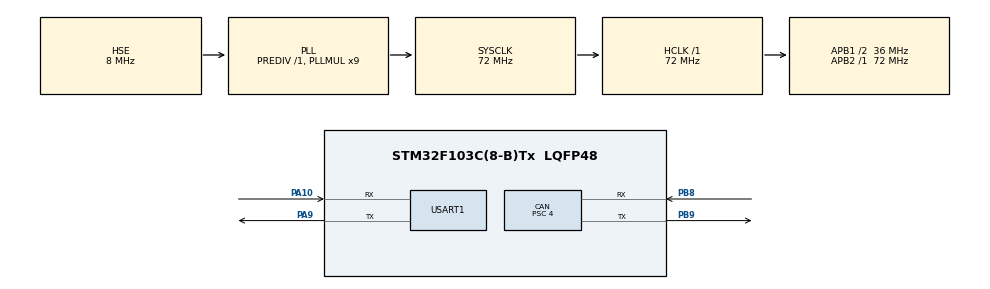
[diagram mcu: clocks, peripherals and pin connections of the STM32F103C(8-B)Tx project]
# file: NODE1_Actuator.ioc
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CAN.BS1=CAN_BS1_13TQ
CAN.BS2=CAN_BS2_4TQ
CAN.CalculateBaudRate=500000
CAN.CalculateTimeBit=2000
CAN.CalculateTimeQuantum=111.11111111111111
CAN.Prescaler=4
Mcu.Family=STM32F1
Mcu.Name=STM32F103C(8-B)Tx
Mcu.Package=LQFP48
NVIC.PriorityGroup=NVIC_PRIORITYGROUP_4
PA10.Mode=Asynchronous
PA10.Signal=USART1_RX
PA13.Mode=Serial_Wire
PA13.Signal=SYS_JTMS-SWDIO
PA14.Mode=Serial_Wire
PA14.Signal=SYS_JTCK-SWCLK
PA9.Mode=Asynchronous
PA9.Signal=USART1_TX
PB8.Mode=CAN_Activate
PB8.Signal=CAN_RX
PB9.Mode=CAN_Activate
PB9.Signal=CAN_TX
PD0-OSC_IN.Mode=HSE-External-Oscillator
PD0-OSC_IN.Signal=RCC_OSC_IN
PD1-OSC_OUT.Mode=HSE-External-Oscillator
PD1-OSC_OUT.Signal=RCC_OSC_OUT
ProjectManager.HeapSize=0x200
ProjectManager.StackSize=0x400
ProjectManager.TargetToolchain=STM32CubeIDE
RCC.AHBFreq_Value=72000000
RCC.APB1CLKDivider=RCC_HCLK_DIV2
RCC.APB1Freq_Value=36000000
RCC.APB1TimFreq_Value=72000000
RCC.APB2Freq_Value=72000000
RCC.APB2TimFreq_Value=72000000
RCC.HCLKFreq_Value=72000000
RCC.PLLMUL=RCC_PLL_MUL9
RCC.PLLSourceVirtual=RCC_PLLSOURCE_HSE
RCC.SYSCLKFreq_VALUE=72000000
RCC.SYSCLKSource=RCC_SYSCLKSOURCE_PLLCLK
RCC.USBFreq_Value=72000000
USART1.VirtualMode=VM_ASYNC
board=custom

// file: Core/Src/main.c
/* USER CODE BEGIN Header */
/**
  ******************************************************************************
  * @file           : main.c
  * @brief          : Main program body
  ******************************************************************************
  * @attention
  *
  * Copyright (c) 2023 STMicroelectronics.
  * All rights reserved.
  *
  * This software is licensed under terms that can be found in the LICENSE file
  * in the root directory of this software component.
  * If no LICENSE file comes with this software, it is provided AS-IS.
  *
  ******************************************************************************
  */
/* USER CODE END Header */
#include "main.h"

/* USER CODE BEGIN Includes */
#include "stm32f1xx_hal_can.h"
#include <stdio.h>
#include <stdint.h>
#include <string.h>
/* USER CODE END Includes */

/* USER CODE BEGIN PTD */
typedef struct
{
	char error[20];
	char success[20];
}CanStatus;

/* USER CODE END PTD */

/* USER CODE BEGIN PD */
#define TIME_DELAY            200
#define DATA_LENGTH_CODE      8
#define INDEX_COUNT_NUMBER    6
#define CAN_STD_ID_RX       (0x012)
#define CAN_STD_ID_TX       (0x0A2)
/* USER CODE END PD */

CAN_HandleTypeDef hcan;

UART_HandleTypeDef huart1;

/* USER CODE BEGIN PV */
CanStatus             can_Status = {"CAN error!!","CAN success"};
static uint8_t        counter = 0;
uint8_t               transmit_Buffer [DATA_LENGTH_CODE] = { 0x01 , 0x02 , 0x00 , 0x00 , 0x00 , 0x00 };
uint8_t               receive_Buffer  [DATA_LENGTH_CODE] ;
uint32_t              mailbox;
uint32_t              fifo;

CAN_RxHeaderTypeDef Receive_header = {
    .RTR    = 0x00,
    .DLC    = 0x08,
    .IDE    = 0x00,
    .StdId  = CAN_STD_ID_RX,
};

CAN_TxHeaderTypeDef Transmit_Header = {
    .RTR    = 0x00,
    .DLC    = 0x08,
    .IDE    = 0x00,
    .StdId  = CAN_STD_ID_TX,
};
/* USER CODE END PV */

void SystemClock_Config(void);
static void MX_GPIO_Init(void);
static void MX_CAN_Init(void);
static void MX_USART1_UART_Init(void);

int main(void)
{

  /* MCU Configuration--------------------------------------------------------*/

  /* Reset of all peripherals, Initializes the Flash interface and the Systick. */
  HAL_Init();

  /* Configure the system clock */
  SystemClock_Config();

  /* Initialize all configured peripherals */
  MX_GPIO_Init();
  MX_CAN_Init();
  MX_USART1_UART_Init();
  /* USER CODE BEGIN 2 */
  HAL_CAN_Start(&hcan);
  /* USER CODE END 2 */

  /* Infinite loop */
  /* USER CODE BEGIN WHILE */
  while (1)
  {
	  if (HAL_CAN_AddTxMessage(&hcan, &Transmit_Header, transmit_Buffer, &mailbox) != HAL_OK )
	  {
		  HAL_UART_Transmit(&huart1, (uint8_t*)(can_Status.error), strlen(can_Status.error), HAL_MAX_DELAY);
		  HAL_Delay(TIME_DELAY);
	  }
	  else
	  {
		  HAL_UART_Transmit(&huart1, (uint8_t*)(can_Status.success) , strlen(can_Status.success), HAL_MAX_DELAY);
		  transmit_Buffer[6] = (uint8_t)((counter++)%15);
		  HAL_Delay(TIME_DELAY);
	  }
	  if (HAL_CAN_GetRxMessage(&hcan, fifo, &Receive_header, receive_Buffer) != HAL_OK )
	  {
		  HAL_UART_Transmit(&huart1, (uint8_t*)(can_Status.error) , strlen(can_Status.error), HAL_MAX_DELAY);
		  HAL_Delay(TIME_DELAY);
	  }
	  else
	  {
		  HAL_UART_Transmit(&huart1, (uint8_t*)(can_Status.success) , strlen(can_Status.success), HAL_MAX_DELAY);
		  HAL_Delay(TIME_DELAY);
		  HAL_UART_Transmit(&huart1, receive_Buffer , sizeof(receive_Buffer), HAL_MAX_DELAY);
		  HAL_Delay(TIME_DELAY);
	  }
    /* USER CODE END WHILE */

  }
}

void SystemClock_Config(void)
{
  RCC_OscInitTypeDef RCC_OscInitStruct = {0};
  RCC_ClkInitTypeDef RCC_ClkInitStruct = {0};

  /** Initializes the RCC Oscillators according to the specified parameters
  * in the RCC_OscInitTypeDef structure.
  */
  RCC_OscInitStruct.OscillatorType = RCC_OSCILLATORTYPE_HSE;
  RCC_OscInitStruct.HSEState = RCC_HSE_ON;
  RCC_OscInitStruct.HSEPredivValue = RCC_HSE_PREDIV_DIV1;
  RCC_OscInitStruct.HSIState = RCC_HSI_ON;
  RCC_OscInitStruct.PLL.PLLState = RCC_PLL_ON;
  RCC_OscInitStruct.PLL.PLLSource = RCC_PLLSOURCE_HSE;
  RCC_OscInitStruct.PLL.PLLMUL = RCC_PLL_MUL9;
  if (HAL_RCC_OscConfig(&RCC_OscInitStruct) != HAL_OK)
  {
    Error_Handler();
  }

  /** Initializes the CPU, AHB and APB buses clocks
  */
  RCC_ClkInitStruct.ClockType = RCC_CLOCKTYPE_HCLK|RCC_CLOCKTYPE_SYSCLK
                              |RCC_CLOCKTYPE_PCLK1|RCC_CLOCKTYPE_PCLK2;
  RCC_ClkInitStruct.SYSCLKSource = RCC_SYSCLKSOURCE_PLLCLK;
  RCC_ClkInitStruct.AHBCLKDivider = RCC_SYSCLK_DIV1;
  RCC_ClkInitStruct.APB1CLKDivider = RCC_HCLK_DIV2;
  RCC_ClkInitStruct.APB2CLKDivider = RCC_HCLK_DIV1;

  if (HAL_RCC_ClockConfig(&RCC_ClkInitStruct, FLASH_LATENCY_2) != HAL_OK)
  {
    Error_Handler();
  }
}

static void MX_CAN_Init(void)
{

  hcan.Instance = CAN1;
  hcan.Init.Prescaler = 4;
  hcan.Init.Mode = CAN_MODE_NORMAL;
  hcan.Init.SyncJumpWidth = CAN_SJW_1TQ;
  hcan.Init.TimeSeg1 = CAN_BS1_13TQ;
  hcan.Init.TimeSeg2 = CAN_BS2_4TQ;
  hcan.Init.TimeTriggeredMode = DISABLE;
  hcan.Init.AutoBusOff = DISABLE;
  hcan.Init.AutoWakeUp = DISABLE;
  hcan.Init.AutoRetransmission = DISABLE;
  hcan.Init.ReceiveFifoLocked = DISABLE;
  hcan.Init.TransmitFifoPriority = DISABLE;
  if (HAL_CAN_Init(&hcan) != HAL_OK)
  {
    Error_Handler();
  }

}

static void MX_USART1_UART_Init(void)
{

  huart1.Instance = USART1;
  huart1.Init.BaudRate = 115200;
  huart1.Init.WordLength = UART_WORDLENGTH_8B;
  huart1.Init.StopBits = UART_STOPBITS_1;
  huart1.Init.Parity = UART_PARITY_NONE;
  huart1.Init.Mode = UART_MODE_TX_RX;
  huart1.Init.HwFlowCtl = UART_HWCONTROL_NONE;
  huart1.Init.OverSampling = UART_OVERSAMPLING_16;
  if (HAL_UART_Init(&huart1) != HAL_OK)
  {
    Error_Handler();
  }

}

static void MX_GPIO_Init(void)
{

  /* GPIO Ports Clock Enable */
  __HAL_RCC_GPIOD_CLK_ENABLE();
  __HAL_RCC_GPIOA_CLK_ENABLE();
  __HAL_RCC_GPIOB_CLK_ENABLE();

}

void Error_Handler(void)
{
  __disable_irq();
  while (1)
  {
  }
}
